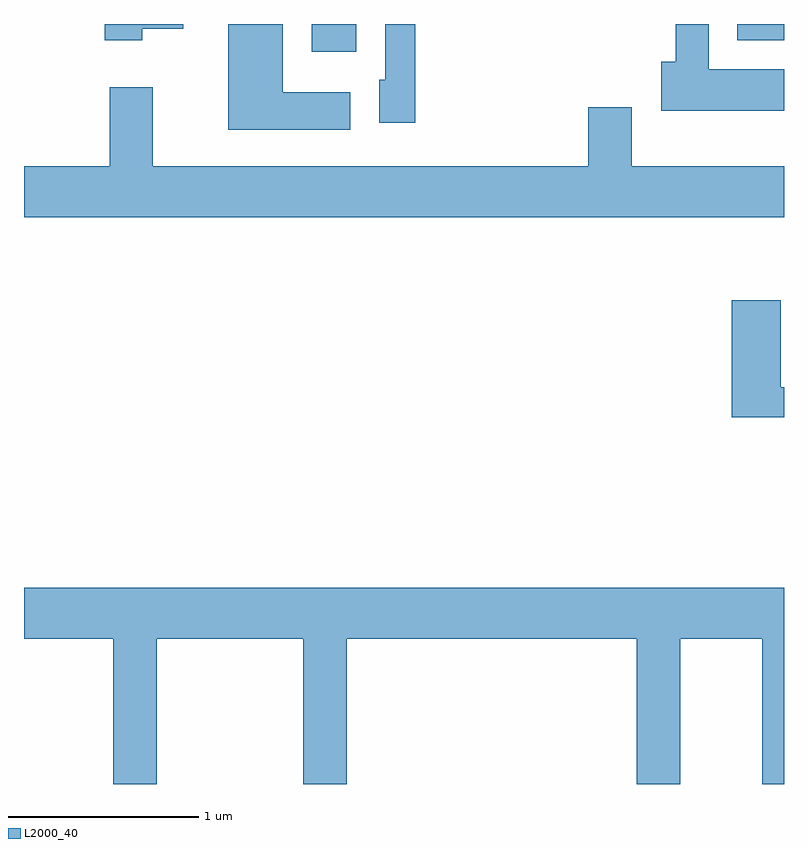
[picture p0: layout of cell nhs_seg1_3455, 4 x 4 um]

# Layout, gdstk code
import gdstk
lib = gdstk.Library(unit=1e-6, precision=1e-09)
def R(c, l, rs):  # rectangles x0, y0, x1, y1
    for r in rs: c.add(gdstk.rectangle(r[:2], r[2:], *l))
def P(c, l, *ps):  # polygons
    for p in ps: c.add(gdstk.Polygon(p, *l))
L2000_40 = (2000, 40)

nhs_seg1_3455 = lib.new_cell('nhs_seg1_3455')
R(nhs_seg1_3455, L2000_40, [(291.126,891.566,291.359,891.712), (293.366,891.626,293.611,891.712)])
P(nhs_seg1_3455, L2000_40, [(293.611,891.474),(293.214,891.474),(293.214,891.712),(293.041,891.712),(293.041,891.514),(292.966,891.514),(292.966,891.256),(293.611,891.256)],
  [(291.669,891.712),(291.511,891.712),(291.511,891.419),(291.481,891.419),(291.481,891.191),(291.669,891.191)],
  [(291.329,891.354),(290.974,891.354),(290.974,891.712),(290.686,891.712),(290.686,891.156),(291.329,891.156)],
  [(290.234,891.686),(290.449,891.686),(290.449,891.712),(290.036,891.712),(290.036,891.626),(290.234,891.626)],
  [(293.611,890.964),(292.809,890.964),(292.809,891.274),(292.581,891.274),(292.581,890.964),(290.289,890.964),(290.289,891.379),(290.061,891.379),(290.061,890.964),(289.611,890.964),(289.611,890.696),(293.611,890.696)],
  [(293.611,889.799),(293.594,889.799),(293.594,890.259),(293.336,890.259),(293.336,889.641),(293.611,889.641)],
  [(290.309,888.476),(291.081,888.476),(291.081,887.712),(291.309,887.712),(291.309,888.476),(292.836,888.476),(292.836,887.712),(293.064,887.712),(293.064,888.476),(293.496,888.476),(293.496,887.712),(293.611,887.712),(293.611,888.744),(289.611,888.744),(289.611,888.476),(290.081,888.476),(290.081,887.712),(290.309,887.712)])

lib.write_gds('nhs_seg1_3455.gds')
